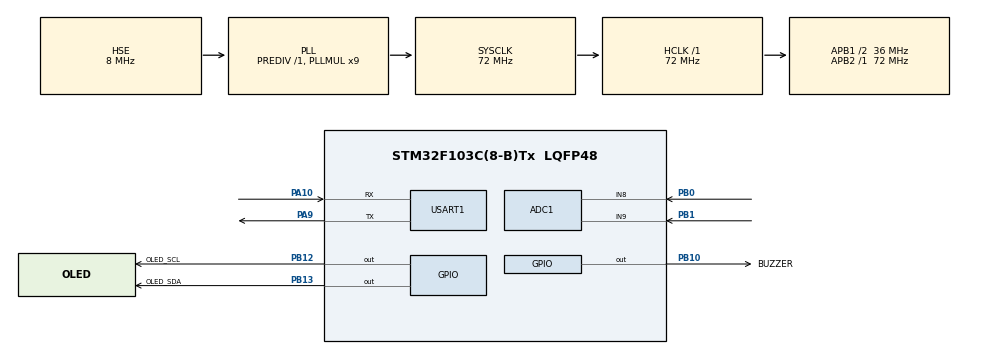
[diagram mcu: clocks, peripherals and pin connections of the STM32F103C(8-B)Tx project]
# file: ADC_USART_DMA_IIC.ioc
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ADC1.AWD1HighThreshold=3800
ADC1.AWD1ITMode=ENABLE
ADC1.AWD1LowThreshold=400
ADC1.Channel-4\#ChannelRegularConversion=ADC_CHANNEL_8
ADC1.Channel-5\#ChannelRegularConversion=ADC_CHANNEL_9
ADC1.ContinuousConvMode=DISABLE
ADC1.EnableAnalogWatchDog=true
ADC1.ExternalTrigConv=ADC_EXTERNALTRIGCONV_T3_TRGO
ADC1.NbrOfConversion=2
ADC1.NbrOfConversionFlag=1
ADC1.Rank-4\#ChannelRegularConversion=1
ADC1.Rank-5\#ChannelRegularConversion=2
ADC1.SamplingTime-4\#ChannelRegularConversion=ADC_SAMPLETIME_239CYCLES_5
ADC1.SamplingTime-5\#ChannelRegularConversion=ADC_SAMPLETIME_239CYCLES_5
ADC1.WatchdogChannel=ADC_CHANNEL_9
ADC1.WatchdogMode=ADC_ANALOGWATCHDOG_SINGLE_REG
ADC1.master=1
Dma.ADC1.2.Direction=DMA_PERIPH_TO_MEMORY
Dma.ADC1.2.Instance=DMA1_Channel1
Dma.ADC1.2.MemDataAlignment=DMA_MDATAALIGN_HALFWORD
Dma.ADC1.2.MemInc=DMA_MINC_ENABLE
Dma.ADC1.2.Mode=DMA_CIRCULAR
Dma.ADC1.2.PeriphDataAlignment=DMA_PDATAALIGN_HALFWORD
Dma.ADC1.2.PeriphInc=DMA_PINC_DISABLE
Dma.ADC1.2.Priority=DMA_PRIORITY_LOW
Dma.Request0=USART1_RX
Dma.Request1=USART1_TX
Dma.Request2=ADC1
Dma.USART1_RX.0.Direction=DMA_PERIPH_TO_MEMORY
Dma.USART1_RX.0.Instance=DMA1_Channel5
Dma.USART1_RX.0.MemDataAlignment=DMA_MDATAALIGN_BYTE
Dma.USART1_RX.0.MemInc=DMA_MINC_ENABLE
Dma.USART1_RX.0.Mode=DMA_NORMAL
Dma.USART1_RX.0.PeriphDataAlignment=DMA_PDATAALIGN_BYTE
Dma.USART1_RX.0.PeriphInc=DMA_PINC_DISABLE
Dma.USART1_RX.0.Priority=DMA_PRIORITY_LOW
Dma.USART1_TX.1.Direction=DMA_MEMORY_TO_PERIPH
Dma.USART1_TX.1.Instance=DMA1_Channel4
Dma.USART1_TX.1.MemDataAlignment=DMA_MDATAALIGN_BYTE
Dma.USART1_TX.1.MemInc=DMA_MINC_ENABLE
Dma.USART1_TX.1.Mode=DMA_NORMAL
Dma.USART1_TX.1.PeriphDataAlignment=DMA_PDATAALIGN_BYTE
Dma.USART1_TX.1.PeriphInc=DMA_PINC_DISABLE
Dma.USART1_TX.1.Priority=DMA_PRIORITY_LOW
Mcu.Family=STM32F1
Mcu.Name=STM32F103C(8-B)Tx
Mcu.Package=LQFP48
NVIC.ADC1_2_IRQn=true\:0\:0\:false\:false\:true\:true\:true\:true
NVIC.DMA1_Channel1_IRQn=true\:0\:0\:false\:false\:true\:false\:true\:true
NVIC.DMA1_Channel4_IRQn=true\:0\:0\:false\:false\:true\:false\:true\:true
NVIC.DMA1_Channel5_IRQn=true\:0\:0\:false\:false\:true\:false\:true\:true
NVIC.PriorityGroup=NVIC_PRIORITYGROUP_4
NVIC.USART1_IRQn=true\:0\:0\:false\:false\:true\:true\:true\:true
PA10.Mode=Asynchronous
PA10.Signal=USART1_RX
PA13.Mode=Serial_Wire
PA13.Signal=SYS_JTMS-SWDIO
PA14.Mode=Serial_Wire
PA14.Signal=SYS_JTCK-SWCLK
PA9.Mode=Asynchronous
PA9.Signal=USART1_TX
PB0.Signal=ADCx_IN8
PB1.Signal=ADCx_IN9
PB10.GPIO_Label=BUZZER
PB10.GPIO_ModeDefaultOutputPP=GPIO_MODE_OUTPUT_PP
PB10.GPIO_PuPd=GPIO_PULLUP
PB10.PinState=GPIO_PIN_RESET
PB10.Signal=GPIO_Output
PB12.GPIO_Label=OLED_SCL
PB12.GPIO_ModeDefaultOutputPP=GPIO_MODE_OUTPUT_OD
PB12.GPIO_PuPd=GPIO_NOPULL
PB12.Signal=GPIO_Output
PB13.GPIO_Label=OLED_SDA
PB13.GPIO_ModeDefaultOutputPP=GPIO_MODE_OUTPUT_OD
PB13.GPIO_PuPd=GPIO_NOPULL
PB13.Signal=GPIO_Output
PD0-OSC_IN.Mode=HSE-External-Oscillator
PD0-OSC_IN.Signal=RCC_OSC_IN
PD1-OSC_OUT.Mode=HSE-External-Oscillator
PD1-OSC_OUT.Signal=RCC_OSC_OUT
ProjectManager.HeapSize=0x200
ProjectManager.StackSize=0x400
ProjectManager.TargetToolchain=CMake
RCC.ADCPresc=RCC_ADCPCLK2_DIV6
RCC.AHBFreq_Value=72000000
RCC.APB1CLKDivider=RCC_HCLK_DIV2
RCC.APB1Freq_Value=36000000
RCC.APB1TimFreq_Value=72000000
RCC.APB2Freq_Value=72000000
RCC.APB2TimFreq_Value=72000000
RCC.HCLKFreq_Value=72000000
RCC.PLLMUL=RCC_PLL_MUL9
RCC.PLLSourceVirtual=RCC_PLLSOURCE_HSE
RCC.SYSCLKFreq_VALUE=72000000
RCC.SYSCLKSource=RCC_SYSCLKSOURCE_PLLCLK
RCC.USBFreq_Value=72000000
SH.ADCx_IN8.0=ADC1_IN8,IN8
SH.ADCx_IN9.0=ADC1_IN9,IN9
TIM3.AutoReloadPreload=TIM_AUTORELOAD_PRELOAD_ENABLE
TIM3.Period=10000 - 1
TIM3.Prescaler=7200 - 1
TIM3.TIM_MasterOutputTrigger=TIM_TRGO_UPDATE
USART1.VirtualMode=VM_ASYNC
VP_TIM3_VS_ClockSourceINT.Mode=Internal
board=custom

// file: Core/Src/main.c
/* USER CODE BEGIN Header */
/**
  ******************************************************************************
  * @file           : main.c
  * @brief          : 最终优化版：ADC+DMA+TIM3触发+模拟看门狗+非阻塞延时
  * @note           : 硬件假设：蜂鸣器低电平触发（RESET=响，SET=关），请根据实际原理图修改！
  ******************************************************************************
  */
/* USER CODE END Header */
#include "main.h"
#include "adc.h"
#include "dma.h"
#include "tim.h"
#include "usart.h"
#include "gpio.h"

/* USER CODE BEGIN Includes */
#include "OLED.h"
#include "stdio.h"
#include "string.h"
/* USER CODE END Includes */

/* USER CODE BEGIN PD */
#define OLED_REFRESH_MS 200    // OLED刷新间隔（非阻塞）
#define WATCHDOG_CLEAR_MS 3000 // 模拟看门狗自动清除报警的时间（3秒，无人值守场景用）
/* USER CODE END PD */

/* USER CODE BEGIN PV */
// ===================== 必须全局的变量（跨中断/主循环访问） =====================
uint16_t adc_buffer[2]; // ADC DMA双缓冲区：[0]=Rank1, [1]=Rank2(假设是被监控的通道9)
uint8_t WatchDogWarning = 0; // 模拟看门狗报警标志位
uint8_t uart_tx_done = 1; // 串口DMA发送完成标志位
uint32_t watchdog_trigger_tick = 0; // 记录模拟看门狗触发的时间（用于自动清除）
/* USER CODE END PV */

void SystemClock_Config(void);

/* USER CODE BEGIN PFP */
void HAL_ADC_LevelOutOfWindowCallback(ADC_HandleTypeDef *hadc);

void HAL_UART_TxCpltCallback(UART_HandleTypeDef *huart);

/* USER CODE END PFP */

/**
  * @brief  程序入口
  * @retval int
  */
int main(void) {
  /* MCU Configuration--------------------------------------------------------*/
  HAL_Init();
  SystemClock_Config();
  MX_GPIO_Init();
  MX_DMA_Init();
  MX_USART1_UART_Init();
  MX_ADC1_Init();
  MX_TIM3_Init();

  /* USER CODE BEGIN 2 */
  // ===================== 显式初始化关键外设/变量 =====================
  OLED_Init();
  OLED_Clear();
  uart_tx_done = 1;
  WatchDogWarning = 0;
  HAL_GPIO_WritePin(BUZZER_GPIO_Port, BUZZER_Pin, GPIO_PIN_SET); // 初始关闭蜂鸣器（硬件假设：SET=关）

  // ===================== 启动核心外设 =====================
  HAL_ADC_Start_DMA(&hadc1, (uint32_t *) adc_buffer, 2); // 仅启动一次，循环模式自动刷新
  HAL_TIM_Base_Start(&htim3); // 仅启动TIM3硬件，产生TRGO触发ADC（不开启TIM3中断）

  // ===================== 非阻塞延时的时间戳变量 =====================
  uint32_t oled_refresh_tick = HAL_GetTick();
  /* USER CODE END 2 */

  /* Infinite loop */
  /* USER CODE BEGIN WHILE */
  while (1) {
    // ===================== 1. 非阻塞刷新OLED（避免HAL_Delay阻塞） =====================
    if (HAL_GetTick() - oled_refresh_tick >= OLED_REFRESH_MS) {
      oled_refresh_tick = HAL_GetTick();

      // 显示前补空格，清除残留（假设OLED一行最多显示4位数字）
      OLED_ShowString(1, 1, "    ");
      OLED_ShowNum(1, 1, adc_buffer[0], 4);
      OLED_ShowString(2, 1, "    ");
      OLED_ShowNum(2, 1, adc_buffer[1], 4);
    }

    // ===================== 2. 非阻塞串口发送（仅在上一次发送完成后执行） =====================
    if (uart_tx_done == 1) {
      // 非必要变量放在主循环内部
      uint8_t tx_buffer[64];
      float voltage1 = (float) adc_buffer[0] * 3.3f / 4095.0f;
      float voltage2 = (float) adc_buffer[1] * 3.3f / 4095.0f;

      snprintf((char *) tx_buffer, sizeof(tx_buffer),
               "S1:%4d(mV), S2:%4d(mV)\r\n",
               (int) (voltage1 * 1000), (int) (voltage2 * 1000));

      uart_tx_done = 0;
      HAL_UART_Transmit_DMA(&huart1, tx_buffer, strlen((char *) tx_buffer));
    }

    if (WatchDogWarning == 1) {
      // 触发报警
      HAL_GPIO_WritePin(BUZZER_GPIO_Port, BUZZER_Pin, GPIO_PIN_RESET); // 硬件假设：RESET=响
      OLED_ShowString(3, 1, "Voltage Error!");

      // 自动清除报警（3秒后，无人值守场景用；也可改成按键清除）
      if (HAL_GetTick() - watchdog_trigger_tick >= WATCHDOG_CLEAR_MS) {
        WatchDogWarning = 0;
      }
    } else {
      // 恢复正常
      HAL_GPIO_WritePin(BUZZER_GPIO_Port, BUZZER_Pin, GPIO_PIN_SET); // 硬件假设：SET=关
      OLED_ShowString(3, 1, "              ");
    }

    /* USER CODE END WHILE */

  }
}

void SystemClock_Config(void) {
  RCC_OscInitTypeDef RCC_OscInitStruct = {0};
  RCC_ClkInitTypeDef RCC_ClkInitStruct = {0};
  RCC_PeriphCLKInitTypeDef PeriphClkInit = {0};

  RCC_OscInitStruct.OscillatorType = RCC_OSCILLATORTYPE_HSE;
  RCC_OscInitStruct.HSEState = RCC_HSE_ON;
  RCC_OscInitStruct.HSEPredivValue = RCC_HSE_PREDIV_DIV1;
  RCC_OscInitStruct.HSIState = RCC_HSI_ON;
  RCC_OscInitStruct.PLL.PLLState = RCC_PLL_ON;
  RCC_OscInitStruct.PLL.PLLSource = RCC_PLLSOURCE_HSE;
  RCC_OscInitStruct.PLL.PLLMUL = RCC_PLL_MUL9;
  if (HAL_RCC_OscConfig(&RCC_OscInitStruct) != HAL_OK) {
    Error_Handler();
  }

  RCC_ClkInitStruct.ClockType = RCC_CLOCKTYPE_HCLK | RCC_CLOCKTYPE_SYSCLK
                                | RCC_CLOCKTYPE_PCLK1 | RCC_CLOCKTYPE_PCLK2;
  RCC_ClkInitStruct.SYSCLKSource = RCC_SYSCLKSOURCE_PLLCLK;
  RCC_ClkInitStruct.AHBCLKDivider = RCC_SYSCLK_DIV1;
  RCC_ClkInitStruct.APB1CLKDivider = RCC_HCLK_DIV2;
  RCC_ClkInitStruct.APB2CLKDivider = RCC_HCLK_DIV1;

  if (HAL_RCC_ClockConfig(&RCC_ClkInitStruct, FLASH_LATENCY_2) != HAL_OK) {
    Error_Handler();
  }
  PeriphClkInit.PeriphClockSelection = RCC_PERIPHCLK_ADC;
  PeriphClkInit.AdcClockSelection = RCC_ADCPCLK2_DIV6;
  if (HAL_RCCEx_PeriphCLKConfig(&PeriphClkInit) != HAL_OK) {
    Error_Handler();
  }
}

/* USER CODE BEGIN 4 */

// ===================== 1. ADC模拟看门狗越界回调（仅置位标志+记录时间，不做耗时操作） =====================
void HAL_ADC_LevelOutOfWindowCallback(ADC_HandleTypeDef *hadc) {
  if (hadc->Instance == ADC1) {
    WatchDogWarning = 1;
    watchdog_trigger_tick = HAL_GetTick(); // 记录触发时间，用于自动清除
  }
}

// ===================== 2. 串口DMA发送完成回调 =====================
void HAL_UART_TxCpltCallback(UART_HandleTypeDef *huart) {
  if (huart->Instance == USART1) {
    uart_tx_done = 1;
  }
}

/* USER CODE END 4 */

/**
  * @brief  错误处理函数
  * @retval None
  */
void Error_Handler(void) {
  __disable_irq();
  while (1) {
    OLED_ShowString(3, 1, "System Error!");
    HAL_Delay(500);
    OLED_ShowString(3, 1, "              ");
    HAL_Delay(500);
  }
}
